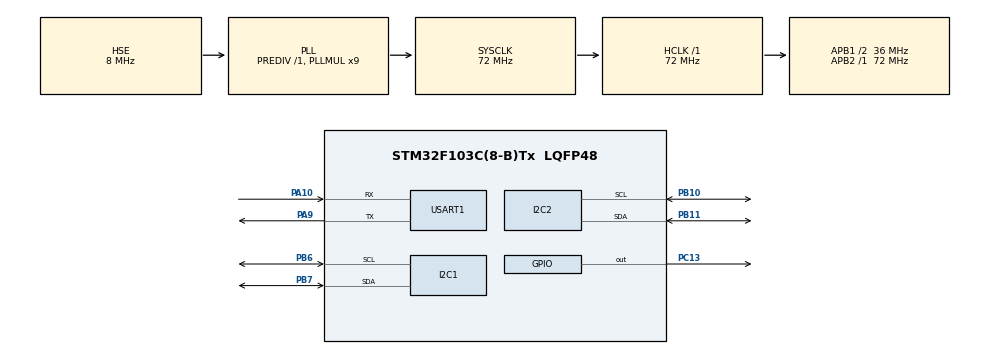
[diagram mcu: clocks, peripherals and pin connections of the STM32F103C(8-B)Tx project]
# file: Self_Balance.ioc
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I2C1.I2C_Mode=I2C_Fast
I2C2.I2C_Mode=I2C_Fast
Mcu.Family=STM32F1
Mcu.Name=STM32F103C(8-B)Tx
Mcu.Package=LQFP48
NVIC.PriorityGroup=NVIC_PRIORITYGROUP_4
NVIC.USART1_IRQn=true\:0\:0\:false\:false\:true\:true\:true\:true
PA10.Mode=Asynchronous
PA10.Signal=USART1_RX
PA13.Mode=Serial_Wire
PA13.Signal=SYS_JTMS-SWDIO
PA14.Mode=Serial_Wire
PA14.Signal=SYS_JTCK-SWCLK
PA9.Mode=Asynchronous
PA9.Signal=USART1_TX
PB10.Mode=I2C
PB10.Signal=I2C2_SCL
PB11.Mode=I2C
PB11.Signal=I2C2_SDA
PB6.Mode=I2C
PB6.Signal=I2C1_SCL
PB7.Mode=I2C
PB7.Signal=I2C1_SDA
PC13-TAMPER-RTC.Signal=GPIO_Output
PD0-OSC_IN.Mode=HSE-External-Oscillator
PD0-OSC_IN.Signal=RCC_OSC_IN
PD1-OSC_OUT.Mode=HSE-External-Oscillator
PD1-OSC_OUT.Signal=RCC_OSC_OUT
ProjectManager.HeapSize=0x200
ProjectManager.StackSize=0x400
ProjectManager.TargetToolchain=MDK-ARM V5.32
RCC.AHBFreq_Value=72000000
RCC.APB1CLKDivider=RCC_HCLK_DIV2
RCC.APB1Freq_Value=36000000
RCC.APB1TimFreq_Value=72000000
RCC.APB2Freq_Value=72000000
RCC.APB2TimFreq_Value=72000000
RCC.HCLKFreq_Value=72000000
RCC.PLLMUL=RCC_PLL_MUL9
RCC.PLLSourceVirtual=RCC_PLLSOURCE_HSE
RCC.SYSCLKFreq_VALUE=72000000
RCC.SYSCLKSource=RCC_SYSCLKSOURCE_PLLCLK
RCC.USBFreq_Value=72000000
USART1.VirtualMode=VM_ASYNC
board=custom

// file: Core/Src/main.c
/* USER CODE BEGIN Header */
/**
  ******************************************************************************
  * @file           : main.c
  * @brief          : Main program body
  ******************************************************************************
  * @attention
  *
  * Copyright (c) 2024 STMicroelectronics.
  * All rights reserved.
  *
  * This software is licensed under terms that can be found in the LICENSE file
  * in the root directory of this software component.
  * If no LICENSE file comes with this software, it is provided AS-IS.
  *
  ******************************************************************************
  */
/* USER CODE END Header */
#include "main.h"
#include "i2c.h"
#include "usart.h"
#include "gpio.h"

/* USER CODE BEGIN Includes */
#include "mpu6050.h"
#include "stdio.h"
#include "string.h"
#include "OLED.h"
/* USER CODE END Includes */

/* USER CODE BEGIN PV */
MPU6050_t MPU6050;
/* USER CODE END PV */

void SystemClock_Config(void);

int main(void)
{

  /* MCU Configuration--------------------------------------------------------*/

  /* Reset of all peripherals, Initializes the Flash interface and the Systick. */
  HAL_Init();

  /* Configure the system clock */
  SystemClock_Config();

  /* Initialize all configured peripherals */
  MX_GPIO_Init();
  MX_I2C1_Init();
  MX_USART1_UART_Init();
  MX_I2C2_Init();
  /* USER CODE BEGIN 2 */
	HAL_GPIO_WritePin(GPIOC, GPIO_PIN_13, GPIO_PIN_SET);
	OLED_Init();
	OLED_ShowString(16,20,"LOADING...",OLED_8X16);
	OLED_Update();
	HAL_Delay(1000);
	OLED_Clear();
	while (MPU6050_Init(&hi2c2) == 1);
	char message1[100];
	char message2[100];
	double num1 = 0.0;
	double num2 = 0.0;

  /* USER CODE END 2 */

  /* Infinite loop */
  /* USER CODE BEGIN WHILE */
  while (1)
  {
		MPU6050_Read_All(&hi2c2, &MPU6050);
		HAL_Delay(100);
		num1 = MPU6050.KalmanAngleX;
		num2 = MPU6050.KalmanAngleY;
    /* USER CODE END WHILE */

    /* USER CODE BEGIN 3 */
		sprintf(message1,"X = %f",num1);
		sprintf(message2,"Y = %f",num2);
    OLED_ShowString( 0,  0,(uint8_t*)message1,OLED_8X16);
		OLED_ShowString( 0, 16,(uint8_t*)message2,OLED_8X16);
    OLED_Update();
		HAL_GPIO_TogglePin(GPIOC, GPIO_PIN_13);
    HAL_Delay(99);
  }
  /* USER CODE END 3 */
}

void SystemClock_Config(void)
{
  RCC_OscInitTypeDef RCC_OscInitStruct = {0};
  RCC_ClkInitTypeDef RCC_ClkInitStruct = {0};

  /** Initializes the RCC Oscillators according to the specified parameters
  * in the RCC_OscInitTypeDef structure.
  */
  RCC_OscInitStruct.OscillatorType = RCC_OSCILLATORTYPE_HSE;
  RCC_OscInitStruct.HSEState = RCC_HSE_ON;
  RCC_OscInitStruct.HSEPredivValue = RCC_HSE_PREDIV_DIV1;
  RCC_OscInitStruct.HSIState = RCC_HSI_ON;
  RCC_OscInitStruct.PLL.PLLState = RCC_PLL_ON;
  RCC_OscInitStruct.PLL.PLLSource = RCC_PLLSOURCE_HSE;
  RCC_OscInitStruct.PLL.PLLMUL = RCC_PLL_MUL9;
  if (HAL_RCC_OscConfig(&RCC_OscInitStruct) != HAL_OK)
  {
    Error_Handler();
  }

  /** Initializes the CPU, AHB and APB buses clocks
  */
  RCC_ClkInitStruct.ClockType = RCC_CLOCKTYPE_HCLK|RCC_CLOCKTYPE_SYSCLK
                              |RCC_CLOCKTYPE_PCLK1|RCC_CLOCKTYPE_PCLK2;
  RCC_ClkInitStruct.SYSCLKSource = RCC_SYSCLKSOURCE_PLLCLK;
  RCC_ClkInitStruct.AHBCLKDivider = RCC_SYSCLK_DIV1;
  RCC_ClkInitStruct.APB1CLKDivider = RCC_HCLK_DIV2;
  RCC_ClkInitStruct.APB2CLKDivider = RCC_HCLK_DIV1;

  if (HAL_RCC_ClockConfig(&RCC_ClkInitStruct, FLASH_LATENCY_2) != HAL_OK)
  {
    Error_Handler();
  }
}

void Error_Handler(void)
{
  __disable_irq();
  while (1)
  {
  }
}
